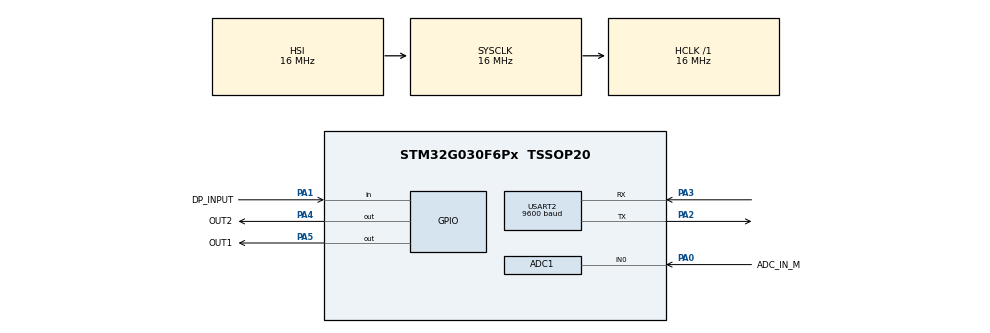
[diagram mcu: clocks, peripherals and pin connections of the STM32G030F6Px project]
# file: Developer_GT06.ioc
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ADC1.Channel-0\#ChannelRegularConversion=ADC_CHANNEL_0
ADC1.NbrOfConversionFlag=1
ADC1.Rank-0\#ChannelRegularConversion=1
ADC1.SamplingTime-0\#ChannelRegularConversion=ADC_SAMPLINGTIME_COMMON_1
ADC1.SamplingTimeCommon1=ADC_SAMPLETIME_7CYCLES_5
ADC1.SelectedChannel=ADC_CHANNEL_0
ADC1.master=1
Dma.ADC1.0.Direction=DMA_PERIPH_TO_MEMORY
Dma.ADC1.0.EventEnable=DISABLE
Dma.ADC1.0.Instance=DMA1_Channel1
Dma.ADC1.0.MemDataAlignment=DMA_MDATAALIGN_HALFWORD
Dma.ADC1.0.MemInc=DMA_MINC_ENABLE
Dma.ADC1.0.Mode=DMA_CIRCULAR
Dma.ADC1.0.PeriphDataAlignment=DMA_PDATAALIGN_HALFWORD
Dma.ADC1.0.PeriphInc=DMA_PINC_DISABLE
Dma.ADC1.0.Polarity=HAL_DMAMUX_REQ_GEN_RISING
Dma.ADC1.0.Priority=DMA_PRIORITY_LOW
Dma.ADC1.0.RequestNumber=1
Dma.ADC1.0.SignalID=NONE
Dma.ADC1.0.SyncEnable=DISABLE
Dma.ADC1.0.SyncPolarity=HAL_DMAMUX_SYNC_NO_EVENT
Dma.ADC1.0.SyncRequestNumber=1
Dma.ADC1.0.SyncSignalID=NONE
Dma.Request0=ADC1
Mcu.Family=STM32G0
Mcu.Name=STM32G030F6Px
Mcu.Package=TSSOP20
NVIC.DMA1_Channel1_IRQn=true\:0\:0\:false\:false\:true\:false\:true\:true
NVIC.TIM1_BRK_UP_TRG_COM_IRQn=true\:0\:0\:false\:false\:true\:true\:true\:true
NVIC.USART2_IRQn=true\:0\:0\:false\:false\:true\:true\:true\:true
PA0.GPIO_Label=ADC_IN_M
PA0.Mode=IN0
PA0.Signal=ADC1_IN0
PA1.GPIO_Label=DP_INPUT
PA1.Signal=GPIO_Input
PA13.Mode=Serial_Wire
PA13.Signal=SYS_SWDIO
PA14-BOOT0.Mode=Serial_Wire
PA14-BOOT0.Signal=SYS_SWCLK
PA14-BOOT0__PA15.StandardMode=true
PA2.Mode=Asynchronous
PA2.Signal=USART2_TX
PA3.Mode=Asynchronous
PA3.Signal=USART2_RX
PA4.GPIO_Label=OUT2
PA4.Signal=GPIO_Output
PA5.GPIO_Label=OUT1
PA5.Signal=GPIO_Output
PB0__PB1__PB2__PA8.StandardMode=true
PB3__PB4__PB5__PB6.StandardMode=true
PB7__PB8.StandardMode=true
PC14-OSC32_IN\ (PC14)__PB9.StandardMode=true
ProjectManager.HeapSize=0x200
ProjectManager.StackSize=0x400
ProjectManager.TargetToolchain=MDK-ARM V5
RCC.AHBFreq_Value=16000000
RCC.CortexFreq_Value=16000000
RCC.EXTERNAL_CLOCK_VALUE=12288000
RCC.HCLKFreq_Value=16000000
RCC.HSE_VALUE=8000000
RCC.HSI_VALUE=16000000
RCC.LSE_VALUE=32768
RCC.SYSCLKFreq_VALUE=16000000
RCC.VCOOutputFreq_Value=128000000
TIM1.AutoReloadPreload=TIM_AUTORELOAD_PRELOAD_ENABLE
TIM1.Period=1599
TIM1.Prescaler=999
USART2.BaudRate=9600
USART2.VirtualMode-Asynchronous=VM_ASYNC
VP_TIM1_VS_ClockSourceINT.Mode=Internal
board=custom

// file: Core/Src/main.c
/* USER CODE BEGIN Header */
/**
  ******************************************************************************
  * @file           : main.c
  * @brief          : Main program body
	* @author   			: Amirreza Salehpour
	* @version        : Ver 1.0.1
	* @date           : 22 July 2023
  ******************************************************************************
  * @attention
  *
  * Copyright (c) 2023 STMicroelectronics.
  * All rights reserved.
  *
  * This software is licensed under terms that can be found in the LICENSE file
  * in the root directory of this software component.
  * If no LICENSE file comes with this software, it is provided AS-IS.
  *
  ******************************************************************************
  */
/* USER CODE END Header */
#include "main.h"

/* USER CODE BEGIN Includes */

//--------------------------- ADC Variables
uint16_t adcBuffer[1];            //Buffer for store the results of the ADC conversion.
bool Enable_Triger=0;							//It's a kind of flag and when we have Triggered from inputs, this bit will become 1.*******
int Check_Timer1=0;								//It's kind of Counter for make time by using Timer 1 (by using this varriable, we make 1 Second).
int Number_Repeat=0;							//We control the number of responses when we have triggered from inputs.

//--------------------------- UART Variables
uint8_t byte;
char buffer[16];                  //It's for printf Function in UART.
int conter1=0;                    //It's for counting bytes received from UART.
char save_byte[50];               //It's for Storge received bytes.
bool block_Response=0;						//It's kind of flag for give a permission to print "TRIGGER" when we have Trig from Inputs.
bool block_UART=0;								//It's a kind of flag that use for enabling the response loop when we have "Command" from UART's input.
int sum_characters=0;							//It using for make partition for Commands.
//int * arr_dynamic = NULL;
//int elements = 15;
//--------------------------- Variables for make Frame
int frame_counter=0;							//It's for counting bytes received from UART that they are valid for making Frame.
int arr_frame[15];								//This array use for Storge valid bytes that sent from master device.
bool block_Counter_frame=0;				//It's for checking start of frame "0xAA";
int clear_counter_Frame=0;        //It using for clear "arr_frame";

//----------------Variable for make suitable outputs
bool Mode_Pulse=0;								//It's for selecting "pulse mode".
bool Mode_N_Counter=0;						//It's for selecting "N-Counter mode".

bool Select_Flag_1=0;							//We are able to select O- in our outpus by using this bit
bool Select_Flag_2=0;							//We are able to select O+ in our outpus by using this bit
bool Select_Flag_3=0;							//We are able to select O+ and O- in our outpus at the same time by using this bit
bool Select_Flag_4=0;							//we use this bit when we gonna float our outputs.

long int High_Time=0;             //It using for calculating high time in our outputs (It's just for positive output).
long int Low_Time=0;							//It using for calculating Low time in our outputs (It's just for positive output).
long int Number_Counter=0;				//It using for counting, IF we are in "N-counter mode"(It's just for positive output).

long int High_Time_2=0;           //It using for calculating high time in our outputs (It's just for negative output).
long int Low_Time_2=0;						//It using for calculating Low time in our outputs (It's just for negative output).
long int Number_Counter_2=0;			//It using for counting, IF we are in "N-counter mode"(It's just for negative output).

long int Counter_Pulse=0;					//It's a kind of counter that using for switching between high time and low time.(It's just for positive output).
long int Counter_Pulse_2=0;				//It's a kind of counter that using for switching between high time and low time.(It's just for negative output).
long int Counter_N_Counter=0;			//It's a kind of counter that using for Count down if we are in "N-counter mode".(It's just for positive output).
long int Counter_N_Counter_2=0;		//It's a kind of counter that using for Count down if we are in "N-counter mode".(It's just for negative output).

//bool Save_Status=0;
bool Save_Status_Trigger=0;       //If we have Trige in input this variable save statuse Enable_Triger
bool lock_repeat_Trigger=0;				//This Variable prevent from repeat print "TRIGGER"
bool pulse_mode_positive_output=0;//It's for select positive output at same time by negative output
bool pulse_mode_negative_output=0;//It's for select negative output at same time by positive output

/* USER CODE END Includes */

ADC_HandleTypeDef hadc1;
DMA_HandleTypeDef hdma_adc1;

TIM_HandleTypeDef htim1;

UART_HandleTypeDef huart2;

void SystemClock_Config(void);
static void MX_GPIO_Init(void);
static void MX_DMA_Init(void);
static void MX_ADC1_Init(void);
static void MX_USART2_UART_Init(void);
static void MX_TIM1_Init(void);

/* USER CODE BEGIN 0 */
//------------------------------------------------------------------------------------------ ADC DMA
void HAL_ADC_ConvCpltCallback(ADC_HandleTypeDef* hadc1){// the Continuos Conversion Mode

	//Read_ACC();
	HAL_ADC_Start_IT(hadc1); // Re-Start ADC1 under Interrupt

}
//------------------------------------------------------------------------------------------ TIMER 100 ms
void HAL_TIM_PeriodElapsedCallback(TIM_HandleTypeDef *htim)
{
	if (htim==&htim1) //10Hz //100ms
  {
		//---------------------------------------------------------

		if(Enable_Triger==1 && Save_Status_Trigger==0 && lock_repeat_Trigger==0){
			Save_Status_Trigger=1;
			block_Response=1;
			Number_Repeat=0;
			Check_Timer1=0;
		}
		if(Enable_Triger==0){
			//------------------------------- If you remove this loop we will sense fall and down Trige together
			if(lock_repeat_Trigger==1){
				 Save_Status_Trigger=0;
			}
			//---------------------------------
			lock_repeat_Trigger=0;
		}

		if(Check_Timer1%10==0 && Save_Status_Trigger==1 && lock_repeat_Trigger==0){ // every 1 Second we will have response
			Check_Timer1=0;
			block_Response=1;
			Number_Repeat=Number_Repeat+1;
			if(Number_Repeat>3){ // Repeat response for 3 times
				lock_repeat_Trigger=1;
				Save_Status_Trigger=0;
				Check_Timer1=0;
				Number_Repeat=0;
				block_Response=0;
			}
		}
		if(Save_Status_Trigger==1){
			Check_Timer1=Check_Timer1+1;
		}
		//---------------------------------------------------------

		//-------------------------------------------------------------------------------------------------PULSE Mode Timre
		if(Mode_Pulse==1){
			//------------------------------------------------------------------- Positive Output
			if(High_Time>0 && pulse_mode_positive_output==1){
				if(Counter_Pulse<High_Time){ //High Time
					if(High_Time>0 && Select_Flag_3==0){ //O+ is high
						HAL_GPIO_WritePin(OUT2_GPIO_Port, OUT2_Pin, GPIO_PIN_SET);
					}
					else if(Select_Flag_3==1){//O+ and O+ is high
						HAL_GPIO_WritePin(OUT1_GPIO_Port, OUT1_Pin, GPIO_PIN_SET);
						HAL_GPIO_WritePin(OUT2_GPIO_Port, OUT2_Pin, GPIO_PIN_SET);
					}
				}
				else if(Counter_Pulse>=High_Time && Counter_Pulse<High_Time+Low_Time){ //Low Time

					if(High_Time>0 && Select_Flag_3==0){ //O+ is high
						HAL_GPIO_WritePin(OUT2_GPIO_Port, OUT2_Pin, GPIO_PIN_RESET);
					}
					else if(Select_Flag_3==1){//O+ and O+ is high
						HAL_GPIO_WritePin(OUT1_GPIO_Port, OUT1_Pin, GPIO_PIN_RESET);
						HAL_GPIO_WritePin(OUT2_GPIO_Port, OUT2_Pin, GPIO_PIN_RESET);
					}
				}
				Counter_Pulse=Counter_Pulse+1;
				if(Counter_Pulse>=High_Time+Low_Time){
					Counter_Pulse=0;
				}
			}
			//-------------------------------------------------------------------
			//------------------------------------------------------------------- Negative Output
			if(High_Time_2>0 && pulse_mode_negative_output==1){
				if(Counter_Pulse_2<High_Time_2){ //High Time

					if(High_Time_2 && Select_Flag_3==0){ // O- is high
						HAL_GPIO_WritePin(OUT1_GPIO_Port, OUT1_Pin, GPIO_PIN_SET);
					}
				}
				else if(Counter_Pulse_2>=High_Time_2 && Counter_Pulse_2<High_Time_2+Low_Time_2){ //Low Time
					if(High_Time_2 && Select_Flag_3==0){ // O- is LOW
						HAL_GPIO_WritePin(OUT1_GPIO_Port, OUT1_Pin, GPIO_PIN_RESET);
					}
				}
				Counter_Pulse_2=Counter_Pulse_2+1;
				if(Counter_Pulse_2>=High_Time_2+Low_Time_2){
					Counter_Pulse_2=0;
				}
			}
			//-------------------------------------------------------------------
		}

		//-------------------------------------------------------------------------------------------------N-Counter Mode Timre

		if(Mode_N_Counter==1 && (Number_Counter || Number_Counter_2)>0){
			//------------------------------------------------------------------- Positive Output
			if(High_Time>0 && pulse_mode_positive_output==0){
				if(Counter_Pulse<High_Time){ //High Time
					if(High_Time>0 && Select_Flag_3==0){ //O+ is high
						HAL_GPIO_WritePin(OUT2_GPIO_Port, OUT2_Pin, GPIO_PIN_SET);
					}
					else if(Select_Flag_3==1){//O+ and O+ is high
						HAL_GPIO_WritePin(OUT1_GPIO_Port, OUT1_Pin, GPIO_PIN_SET);
						HAL_GPIO_WritePin(OUT2_GPIO_Port, OUT2_Pin, GPIO_PIN_SET);
					}
				}
				else if(Counter_Pulse>=High_Time && Counter_Pulse<High_Time+Low_Time){ //Low Time
					if(High_Time>0 && Select_Flag_3==0){ //O+ is high
						HAL_GPIO_WritePin(OUT2_GPIO_Port, OUT2_Pin, GPIO_PIN_RESET);
					}
					else if(Select_Flag_3==1){//O+ and O+ is high
						HAL_GPIO_WritePin(OUT1_GPIO_Port, OUT1_Pin, GPIO_PIN_RESET);
						HAL_GPIO_WritePin(OUT2_GPIO_Port, OUT2_Pin, GPIO_PIN_RESET);
					}
				}
				Counter_Pulse=Counter_Pulse+1;
				if(Counter_Pulse>=High_Time+Low_Time){
					Counter_Pulse=0;
					Counter_N_Counter=Counter_N_Counter+1;
				}
				if(Counter_N_Counter>(Number_Counter-1)){
					Counter_N_Counter=0;
					//Mode_N_Counter=0;
					High_Time=0;
					Low_Time=0;
					Number_Counter=0;
				}
			}
			//-------------------------------------------------------------------
			//------------------------------------------------------------------- Negative Output
			if(High_Time_2>0 && pulse_mode_negative_output==0){
				if(Counter_Pulse_2<High_Time_2){ //High Time
					if(High_Time_2 && Select_Flag_3==0){ // O- is high
						HAL_GPIO_WritePin(OUT1_GPIO_Port, OUT1_Pin, GPIO_PIN_SET);
					}
				}
				else if(Counter_Pulse_2>=High_Time_2 && Counter_Pulse_2<High_Time_2+Low_Time_2){ //Low Time
					if(High_Time_2 && Select_Flag_3==0){ // O- is high
						HAL_GPIO_WritePin(OUT1_GPIO_Port, OUT1_Pin, GPIO_PIN_RESET);
					}
				}
				Counter_Pulse_2=Counter_Pulse_2+1;
				if(Counter_Pulse_2>=High_Time_2+Low_Time_2){
					Counter_Pulse_2=0;
					Counter_N_Counter_2=Counter_N_Counter_2+1;
				}
				if(Counter_N_Counter_2>(Number_Counter_2-1)){
					Counter_N_Counter_2=0;
					//Mode_N_Counter=0;
					High_Time_2=0;
					Low_Time_2=0;
					Number_Counter_2=0;
				}
				//-------------------------------------------------------------------
			}

			if(High_Time_2==0 && High_Time==0){
				Mode_N_Counter=0;
			}
		}
		//HAL_GPIO_TogglePin(OUT2_GPIO_Port, OUT2_Pin);
	}
}

//------------------------------------------------------------------------------------------ UART 2
void HAL_UART_RxCpltCallback(UART_HandleTypeDef *huart)
{
	if (huart == &huart2) {

		//------------------------------------------- Make frame
		if(byte==0xAA){
			block_Counter_frame=1;
			frame_counter=0;
			for(clear_counter_Frame=0;clear_counter_Frame<15;clear_counter_Frame++){
				arr_frame[clear_counter_Frame]=0;
			}
			//free(arr_frame);
			//arr_dynamic = calloc(elements, sizeof(int)); //Array with 2 integer blocks
		}
		if(block_Counter_frame==1 && frame_counter<15){
			arr_frame[frame_counter]=byte;
			frame_counter=frame_counter+1;
		}

		//------------------------------------------- Receive Commands
		if(byte>=97 && byte<=122){
			byte=byte-32;
		}
		if(byte!=13 && byte!=10 && block_Counter_frame==0){
			//arr_dynamic[conter1]=byte;
			sum_characters=sum_characters+(byte*conter1);
			conter1++;
		}
		else if(byte==13 && block_Counter_frame==0){
			block_UART=1;
			conter1=0;
		}
		HAL_UART_Receive_IT(&huart2, &byte, 1);
	}
}
//------------------------------------------------------------------------
//------------------------------------------------------------------------
/* USER CODE END 0 */

int main(void)
{

  /* MCU Configuration--------------------------------------------------------*/

  /* Reset of all peripherals, Initializes the Flash interface and the Systick. */
  HAL_Init();

  /* Configure the system clock */
  SystemClock_Config();

  /* Initialize all configured peripherals */
  MX_GPIO_Init();
  MX_DMA_Init();
  MX_ADC1_Init();
  MX_USART2_UART_Init();
  MX_TIM1_Init();
  /* USER CODE BEGIN 2 */
	HAL_TIM_Base_Start_IT(&htim1);
	HAL_ADC_Start_DMA(&hadc1, (uint32_t*)&adcBuffer[0],1);

  /* USER CODE END 2 */

  /* Infinite loop */
  /* USER CODE BEGIN WHILE */

	HAL_UART_Receive_IT(&huart2, &byte, 1);
	//arr_dynamic = calloc(elements, sizeof(int)); //Array with 2 integer blocks

  while (1)
  {
    /* USER CODE END WHILE */

		Enable_Triger=!(HAL_GPIO_ReadPin(DP_INPUT_GPIO_Port, DP_INPUT_Pin));

		if(block_UART==1){
			//---------------------------------------------------- Commands
			if(sum_characters==1221){//STATUS
				HAL_UART_Transmit(&huart2, (uint8_t*)buffer, sprintf(buffer, "STATUS=%d,%d\r\n",adcBuffer[0],Enable_Triger), 500);
				lock_repeat_Trigger=1;
				block_Response=0;
				Save_Status_Trigger=0;
//				Save_Status_Trigger=0;
//				Check_Timer1=0;
//				Number_Repeat=0;
//				block_Response=0;
			}
			//----------------------------------------------------
			else if(sum_characters==1536){//POSOUT1
				Mode_Pulse=0;
				Mode_N_Counter=0;
				HAL_GPIO_WritePin(OUT2_GPIO_Port, OUT2_Pin, GPIO_PIN_SET);
				HAL_UART_Transmit(&huart2, (uint8_t*)buffer, sprintf(buffer, "OK\r\n"), 500);
			}
			else if(sum_characters==1530){//POSOUT0
				Mode_Pulse=0;
				Mode_N_Counter=0;
				HAL_GPIO_WritePin(OUT2_GPIO_Port, OUT2_Pin, GPIO_PIN_RESET);
				HAL_UART_Transmit(&huart2, (uint8_t*)buffer, sprintf(buffer, "OK\r\n"), 500);
			}
			//----------------------------------------------------
			else if(sum_characters==1502){//NEGOUT1
				Mode_Pulse=0;
				Mode_N_Counter=0;
				HAL_GPIO_WritePin(OUT1_GPIO_Port, OUT1_Pin, GPIO_PIN_SET);
				HAL_UART_Transmit(&huart2, (uint8_t*)buffer, sprintf(buffer, "OK\r\n"), 500);
			}
			else if(sum_characters==1496){//NEGOUT0
				Mode_Pulse=0;
				Mode_N_Counter=0;
				HAL_GPIO_WritePin(OUT1_GPIO_Port, OUT1_Pin, GPIO_PIN_RESET);
				HAL_UART_Transmit(&huart2, (uint8_t*)buffer, sprintf(buffer, "OK\r\n"), 500);
			}
			//----------------------------------------------------
			else if(sum_characters==5429){//RESETOUTPUTS
				Mode_Pulse=0;
				Mode_N_Counter=0;
				HAL_GPIO_WritePin(OUT1_GPIO_Port, OUT1_Pin, GPIO_PIN_RESET);
				HAL_GPIO_WritePin(OUT2_GPIO_Port, OUT2_Pin, GPIO_PIN_RESET);
				HAL_UART_Transmit(&huart2, (uint8_t*)buffer, sprintf(buffer, "OK\r\n"), 500);
			}
			//----------------------------------------------------
			else if(sum_characters==75){//OK
				Save_Status_Trigger=0;
				Check_Timer1=0;
				Number_Repeat=0;
				lock_repeat_Trigger=1;
				block_Response=0;
			}
			sum_characters=0;
			block_UART=0;
		}

		//---------------------------------------------------- Input Triger
		if(block_Response==1 && lock_repeat_Trigger==0){
			HAL_UART_Transmit(&huart2, (uint8_t*)buffer, sprintf(buffer, "TRIGGER\r\n"), 500);
			block_Response=0;
		}
		//---------------------------------------------------- Check Frame --------------------
		if(arr_frame[0]==0xaa && arr_frame[1]==0xbb && arr_frame[13]==0xee && arr_frame[14]==0xcc && (frame_counter-1)==14){
			block_Counter_frame=0;
//			for(i=0;i<frame_counter;i++){
//				HAL_UART_Transmit(&huart2, (uint8_t*)buffer, sprintf(buffer," %d",arr_dynamic[i]), 500);
//			}
			//a=arr_frame[2]&&0x10;
			//------------------------------------------------------------- Select OUT
			if((arr_frame[2]&0x0C)==0x0C){// O+:Select O-:Select
				Select_Flag_1=0;
				Select_Flag_2=0;
				Select_Flag_3=1;
//				Select_Flag_4=0;
			}
			else if((arr_frame[2]&0x0C)==0x00){// O+:Float O-:Float
				Select_Flag_1=0;
				Select_Flag_2=0;
				Select_Flag_3=0;
				Select_Flag_4=1;
				HAL_GPIO_WritePin(OUT1_GPIO_Port, OUT1_Pin, GPIO_PIN_RESET);
				HAL_GPIO_WritePin(OUT2_GPIO_Port, OUT2_Pin, GPIO_PIN_RESET);
			}
			else if((arr_frame[2]&0x08)==0x08){// O+:Select O-:Float
				Select_Flag_1=0;
				Select_Flag_2=1;
				Select_Flag_3=0;
				Select_Flag_4=0;
			}
			else if((arr_frame[2]&0x04)==0x04){ // O+:Float O-:Select
				Select_Flag_1=1;
				Select_Flag_2=0;
				Select_Flag_3=0;
				Select_Flag_4=0;
			}

			//--------------------------------------------------------------------------------------- Mods

			//------------------------------------- N counter
			if(Select_Flag_4==0 && (arr_frame[2]&0x03)==0x03){

				if(Select_Flag_2==1){ // Positive Output
					pulse_mode_positive_output=0;
					Counter_N_Counter=0;
					Counter_Pulse=0;
					High_Time=(arr_frame[5]*65536)+((arr_frame[6]*256)+arr_frame[7]);
					Low_Time=(arr_frame[8]*65536)+((arr_frame[9]*256)+arr_frame[10]);
					Number_Counter=(arr_frame[11]*256)+arr_frame[12];
				}

				if(Select_Flag_1==1){ // Negative Output
					pulse_mode_negative_output=0;
					Counter_Pulse_2=0;
					Counter_N_Counter_2=0;
					High_Time_2=(arr_frame[5]*65536)+((arr_frame[6]*256)+arr_frame[7]);
					Low_Time_2=(arr_frame[8]*65536)+((arr_frame[9]*256)+arr_frame[10]);
					Number_Counter_2=(arr_frame[11]*256)+arr_frame[12];
				}

				if(Select_Flag_3==1){
					pulse_mode_positive_output=0;
					pulse_mode_negative_output=0;
					Counter_N_Counter=0;
					Counter_Pulse=0;
					Counter_Pulse_2=0;
					Counter_N_Counter_2=0;
					High_Time=(arr_frame[5]*65536)+((arr_frame[6]*256)+arr_frame[7]);
					Low_Time=(arr_frame[8]*65536)+((arr_frame[9]*256)+arr_frame[10]);
					Number_Counter=(arr_frame[11]*256)+arr_frame[12];
					High_Time_2=High_Time;
					Low_Time_2=Low_Time;
					Number_Counter=Number_Counter_2;
				}

				if(Number_Counter!=0x00 && Number_Counter_2!=0x00 && Select_Flag_3==1){
					Mode_N_Counter=1;
				}

				else if(Number_Counter!=0x00 && Select_Flag_2==1 ){
					Mode_N_Counter=1;
				}

				else if(Number_Counter_2!=0x00 && Select_Flag_1==1 ){
					Mode_N_Counter=1;
				}

			}

			//------------------------------------- Float
			else if(Select_Flag_4==0 && (arr_frame[2]&0x03)==0x00){

				if(Select_Flag_1==1){ // O- is high
					HAL_GPIO_WritePin(OUT1_GPIO_Port, OUT1_Pin, GPIO_PIN_RESET);
					Select_Flag_1=0;
					High_Time_2=0;
					Low_Time_2=0;
					Number_Counter_2=0;
				}
				else if(Select_Flag_2==1){ //O+ is high
					HAL_GPIO_WritePin(OUT2_GPIO_Port, OUT2_Pin, GPIO_PIN_RESET);
					Select_Flag_2=0;
					High_Time=0;
					Low_Time=0;
					Number_Counter=0;
				}
				else if(Select_Flag_3==1){//O- and O+ is high
					HAL_GPIO_WritePin(OUT1_GPIO_Port, OUT1_Pin, GPIO_PIN_RESET);
					HAL_GPIO_WritePin(OUT2_GPIO_Port, OUT2_Pin, GPIO_PIN_RESET);
					High_Time=0;
					Low_Time=0;
					Number_Counter=0;
					Select_Flag_3=0;
					High_Time_2=0;
					Low_Time_2=0;
					Number_Counter_2=0;
				}
			}

			//------------------------------------- Pulse
			else if(Select_Flag_4==0 && (arr_frame[2]&0x02)==0x02){

				if(Select_Flag_2==1){ // Positive Output
					Counter_Pulse=0;
					pulse_mode_positive_output=1;
					High_Time=(arr_frame[5]*65536)+((arr_frame[6]*256)+arr_frame[7]);
					Low_Time=(arr_frame[8]*65536)+((arr_frame[9]*256)+arr_frame[10]);
					Number_Counter=(arr_frame[11]*256)+arr_frame[12];
				}
				if(Select_Flag_1==1){ // Negative Output
					pulse_mode_negative_output=1;
					High_Time_2=(arr_frame[5]*65536)+((arr_frame[6]*256)+arr_frame[7]);
					Low_Time_2=(arr_frame[8]*65536)+((arr_frame[9]*256)+arr_frame[10]);
					Number_Counter_2=(arr_frame[11]*256)+arr_frame[12];
					Counter_Pulse_2=0;
				}
				if(Select_Flag_3==1){
					pulse_mode_positive_output=1;
					pulse_mode_negative_output=1;
					High_Time=(arr_frame[5]*65536)+((arr_frame[6]*256)+arr_frame[7]);
					Low_Time=(arr_frame[8]*65536)+((arr_frame[9]*256)+arr_frame[10]);
					Number_Counter=(arr_frame[11]*256)+arr_frame[12];
					High_Time_2=High_Time;
					Low_Time_2=Low_Time;
					Number_Counter_2=Number_Counter;
					Counter_Pulse=0;
					Counter_Pulse_2=0;
				}

				if(Number_Counter==0x00 && Number_Counter_2!=0x00 && Select_Flag_3==1){
					Mode_Pulse=1;
				}
				else if(Number_Counter==0x00 && Select_Flag_2==1 ){
					Mode_Pulse=1;
				}
				else if(Number_Counter_2==0x00 && Select_Flag_1==1 ){
					Mode_Pulse=1;
				}
			}
			//------------------------------------- Active
			else if(Select_Flag_4==0 && (arr_frame[2]&0x01)==0x01 ){

				if(Select_Flag_1==1){ // O- is high
					HAL_GPIO_WritePin(OUT1_GPIO_Port, OUT1_Pin, GPIO_PIN_SET);
					Select_Flag_1=0;
					High_Time_2=0;
					Low_Time_2=0;
					Number_Counter_2=0;
				}
				else if(Select_Flag_2==1){ //O+ is high
					HAL_GPIO_WritePin(OUT2_GPIO_Port, OUT2_Pin, GPIO_PIN_SET);
					Select_Flag_2=0;
					High_Time=0;
					Low_Time=0;
					Number_Counter=0;
				}
				else if(Select_Flag_3==1){//O- and O+ is high
					HAL_GPIO_WritePin(OUT1_GPIO_Port, OUT1_Pin, GPIO_PIN_SET);
					HAL_GPIO_WritePin(OUT2_GPIO_Port, OUT2_Pin, GPIO_PIN_SET);
					High_Time=0;
					Low_Time=0;
					Number_Counter=0;
					Select_Flag_3=0;
					High_Time_2=0;
					Low_Time_2=0;
					Number_Counter_2=0;
				}
			}

			//---------------------------
			HAL_UART_Transmit(&huart2, (uint8_t*)buffer, sprintf(buffer,"OK\r\n"), 500);
			frame_counter=0;
			//free(arr_frame);
			for(clear_counter_Frame=0;clear_counter_Frame<15;clear_counter_Frame++){
				arr_frame[clear_counter_Frame]=0;
			}
		}
		//----------------------------------------------------------------------------------------
		//		else if(frame_counter>=15){
//			free(arr_dynamic);
//			block_Counter_frame=0;
//			frame_counter=0;
//		}

//		for(i=0;i<=frame_counter;i++){
//			HAL_UART_Transmit(&huart2, (uint8_t*)buffer, sprintf(buffer,"\r\n%d",arr_dynamic[i]), 500);
//		}
//		HAL_Delay(1000);
  }
  /* USER CODE END 3 */
}

void SystemClock_Config(void)
{
  RCC_OscInitTypeDef RCC_OscInitStruct = {0};
  RCC_ClkInitTypeDef RCC_ClkInitStruct = {0};

  /** Configure the main internal regulator output voltage
  */
  HAL_PWREx_ControlVoltageScaling(PWR_REGULATOR_VOLTAGE_SCALE1);

  /** Initializes the RCC Oscillators according to the specified parameters
  * in the RCC_OscInitTypeDef structure.
  */
  RCC_OscInitStruct.OscillatorType = RCC_OSCILLATORTYPE_HSI;
  RCC_OscInitStruct.HSIState = RCC_HSI_ON;
  RCC_OscInitStruct.HSIDiv = RCC_HSI_DIV1;
  RCC_OscInitStruct.HSICalibrationValue = RCC_HSICALIBRATION_DEFAULT;
  RCC_OscInitStruct.PLL.PLLState = RCC_PLL_NONE;
  if (HAL_RCC_OscConfig(&RCC_OscInitStruct) != HAL_OK)
  {
    Error_Handler();
  }

  /** Initializes the CPU, AHB and APB buses clocks
  */
  RCC_ClkInitStruct.ClockType = RCC_CLOCKTYPE_HCLK|RCC_CLOCKTYPE_SYSCLK
                              |RCC_CLOCKTYPE_PCLK1;
  RCC_ClkInitStruct.SYSCLKSource = RCC_SYSCLKSOURCE_HSI;
  RCC_ClkInitStruct.AHBCLKDivider = RCC_SYSCLK_DIV1;
  RCC_ClkInitStruct.APB1CLKDivider = RCC_HCLK_DIV1;

  if (HAL_RCC_ClockConfig(&RCC_ClkInitStruct, FLASH_LATENCY_0) != HAL_OK)
  {
    Error_Handler();
  }
}

static void MX_ADC1_Init(void)
{

  ADC_ChannelConfTypeDef sConfig = {0};

  /** Configure the global features of the ADC (Clock, Resolution, Data Alignment and number of conversion)
  */
  hadc1.Instance = ADC1;
  hadc1.Init.ClockPrescaler = ADC_CLOCK_SYNC_PCLK_DIV2;
  hadc1.Init.Resolution = ADC_RESOLUTION_12B;
  hadc1.Init.DataAlign = ADC_DATAALIGN_RIGHT;
  hadc1.Init.ScanConvMode = ADC_SCAN_DISABLE;
  hadc1.Init.EOCSelection = ADC_EOC_SINGLE_CONV;
  hadc1.Init.LowPowerAutoWait = DISABLE;
  hadc1.Init.LowPowerAutoPowerOff = DISABLE;
  hadc1.Init.ContinuousConvMode = DISABLE;
  hadc1.Init.NbrOfConversion = 1;
  hadc1.Init.DiscontinuousConvMode = DISABLE;
  hadc1.Init.ExternalTrigConv = ADC_SOFTWARE_START;
  hadc1.Init.ExternalTrigConvEdge = ADC_EXTERNALTRIGCONVEDGE_NONE;
  hadc1.Init.DMAContinuousRequests = DISABLE;
  hadc1.Init.Overrun = ADC_OVR_DATA_PRESERVED;
  hadc1.Init.SamplingTimeCommon1 = ADC_SAMPLETIME_7CYCLES_5;
  hadc1.Init.SamplingTimeCommon2 = ADC_SAMPLETIME_1CYCLE_5;
  hadc1.Init.OversamplingMode = DISABLE;
  hadc1.Init.TriggerFrequencyMode = ADC_TRIGGER_FREQ_HIGH;
  if (HAL_ADC_Init(&hadc1) != HAL_OK)
  {
    Error_Handler();
  }

  /** Configure Regular Channel
  */
  sConfig.Channel = ADC_CHANNEL_0;
  sConfig.Rank = ADC_REGULAR_RANK_1;
  sConfig.SamplingTime = ADC_SAMPLINGTIME_COMMON_1;
  if (HAL_ADC_ConfigChannel(&hadc1, &sConfig) != HAL_OK)
  {
    Error_Handler();
  }

}

static void MX_TIM1_Init(void)
{

  TIM_ClockConfigTypeDef sClockSourceConfig = {0};
  TIM_MasterConfigTypeDef sMasterConfig = {0};

  htim1.Instance = TIM1;
  htim1.Init.Prescaler = 999;
  htim1.Init.CounterMode = TIM_COUNTERMODE_UP;
  htim1.Init.Period = 1599;
  htim1.Init.ClockDivision = TIM_CLOCKDIVISION_DIV1;
  htim1.Init.RepetitionCounter = 0;
  htim1.Init.AutoReloadPreload = TIM_AUTORELOAD_PRELOAD_ENABLE;
  if (HAL_TIM_Base_Init(&htim1) != HAL_OK)
  {
    Error_Handler();
  }
  sClockSourceConfig.ClockSource = TIM_CLOCKSOURCE_INTERNAL;
  if (HAL_TIM_ConfigClockSource(&htim1, &sClockSourceConfig) != HAL_OK)
  {
    Error_Handler();
  }
  sMasterConfig.MasterOutputTrigger = TIM_TRGO_RESET;
  sMasterConfig.MasterOutputTrigger2 = TIM_TRGO2_RESET;
  sMasterConfig.MasterSlaveMode = TIM_MASTERSLAVEMODE_DISABLE;
  if (HAL_TIMEx_MasterConfigSynchronization(&htim1, &sMasterConfig) != HAL_OK)
  {
    Error_Handler();
  }

}

static void MX_USART2_UART_Init(void)
{

  huart2.Instance = USART2;
  huart2.Init.BaudRate = 9600;
  huart2.Init.WordLength = UART_WORDLENGTH_8B;
  huart2.Init.StopBits = UART_STOPBITS_1;
  huart2.Init.Parity = UART_PARITY_NONE;
  huart2.Init.Mode = UART_MODE_TX_RX;
  huart2.Init.HwFlowCtl = UART_HWCONTROL_NONE;
  huart2.Init.OverSampling = UART_OVERSAMPLING_16;
  huart2.Init.OneBitSampling = UART_ONE_BIT_SAMPLE_DISABLE;
  huart2.Init.ClockPrescaler = UART_PRESCALER_DIV1;
  huart2.AdvancedInit.AdvFeatureInit = UART_ADVFEATURE_NO_INIT;
  if (HAL_UART_Init(&huart2) != HAL_OK)
  {
    Error_Handler();
  }

}

static void MX_DMA_Init(void)
{

  /* DMA controller clock enable */
  __HAL_RCC_DMA1_CLK_ENABLE();

  /* DMA interrupt init */
  /* DMA1_Channel1_IRQn interrupt configuration */
  HAL_NVIC_SetPriority(DMA1_Channel1_IRQn, 0, 0);
  HAL_NVIC_EnableIRQ(DMA1_Channel1_IRQn);

}

static void MX_GPIO_Init(void)
{
  GPIO_InitTypeDef GPIO_InitStruct = {0};

  /* GPIO Ports Clock Enable */
  __HAL_RCC_GPIOA_CLK_ENABLE();

  /*Configure GPIO pin Output Level */
  HAL_GPIO_WritePin(GPIOA, OUT2_Pin|OUT1_Pin, GPIO_PIN_RESET);

  /*Configure GPIO pin : DP_INPUT_Pin */
  GPIO_InitStruct.Pin = DP_INPUT_Pin;
  GPIO_InitStruct.Mode = GPIO_MODE_INPUT;
  GPIO_InitStruct.Pull = GPIO_NOPULL;
  HAL_GPIO_Init(DP_INPUT_GPIO_Port, &GPIO_InitStruct);

  /*Configure GPIO pins : OUT2_Pin OUT1_Pin */
  GPIO_InitStruct.Pin = OUT2_Pin|OUT1_Pin;
  GPIO_InitStruct.Mode = GPIO_MODE_OUTPUT_PP;
  GPIO_InitStruct.Pull = GPIO_NOPULL;
  GPIO_InitStruct.Speed = GPIO_SPEED_FREQ_LOW;
  HAL_GPIO_Init(GPIOA, &GPIO_InitStruct);

}

void Error_Handler(void)
{
  __disable_irq();
  while (1)
  {
  }
}
